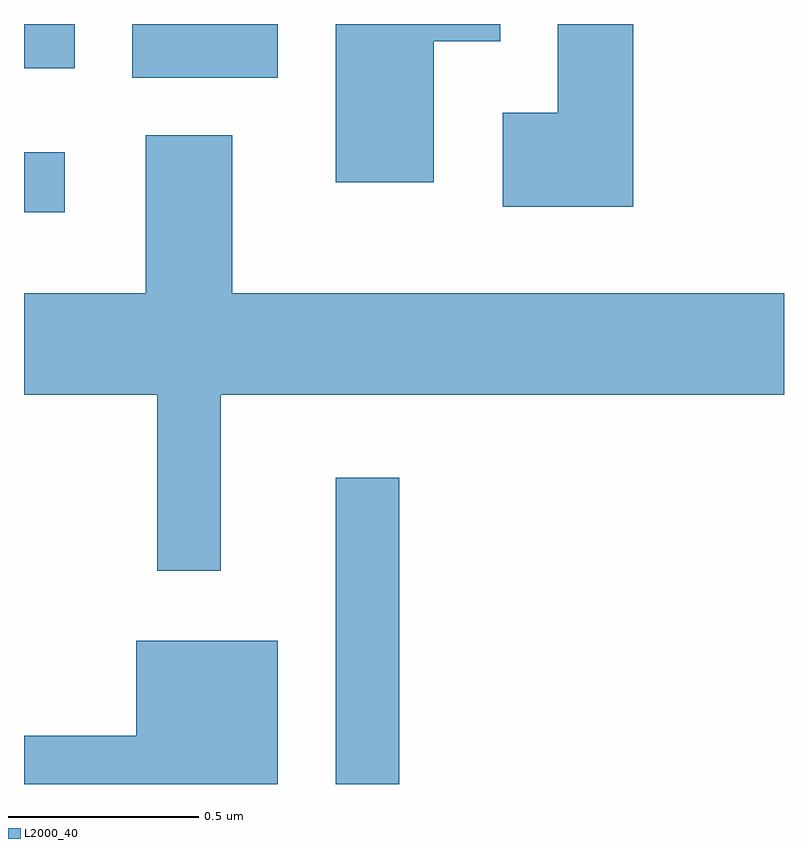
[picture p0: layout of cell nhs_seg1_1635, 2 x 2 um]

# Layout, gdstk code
import gdstk
lib = gdstk.Library(unit=1e-6, precision=1e-09)
def R(c, l, rs):  # rectangles x0, y0, x1, y1
    for r in rs: c.add(gdstk.rectangle(r[:2], r[2:], *l))
def P(c, l, *ps):  # polygons
    for p in ps: c.add(gdstk.Polygon(p, *l))
L2000_40 = (2000, 40)

nhs_seg1_1635 = lib.new_cell('nhs_seg1_1635')
R(nhs_seg1_1635, L2000_40, [(198.431,849.712,198.599,850.518), (197.611,851.216,197.718,851.374), (197.896,851.571,198.279,851.712), (197.611,851.596,197.744,851.712)])
P(nhs_seg1_1635, L2000_40, [(198.689,851.666),(198.864,851.666),(198.864,851.712),(198.431,851.712),(198.431,851.296),(198.689,851.296)],
  [(199.214,851.712),(199.016,851.712),(199.016,851.479),(198.871,851.479),(198.871,851.231),(199.214,851.231)],
  [(198.129,850.736),(199.611,850.736),(199.611,851.004),(198.159,851.004),(198.159,851.419),(197.931,851.419),(197.931,851.004),(197.611,851.004),(197.611,850.736),(197.961,850.736),(197.961,850.273),(198.129,850.273)],
  [(198.279,850.089),(197.906,850.089),(197.906,849.839),(197.611,849.839),(197.611,849.712),(198.279,849.712)])

lib.write_gds('nhs_seg1_1635.gds')
